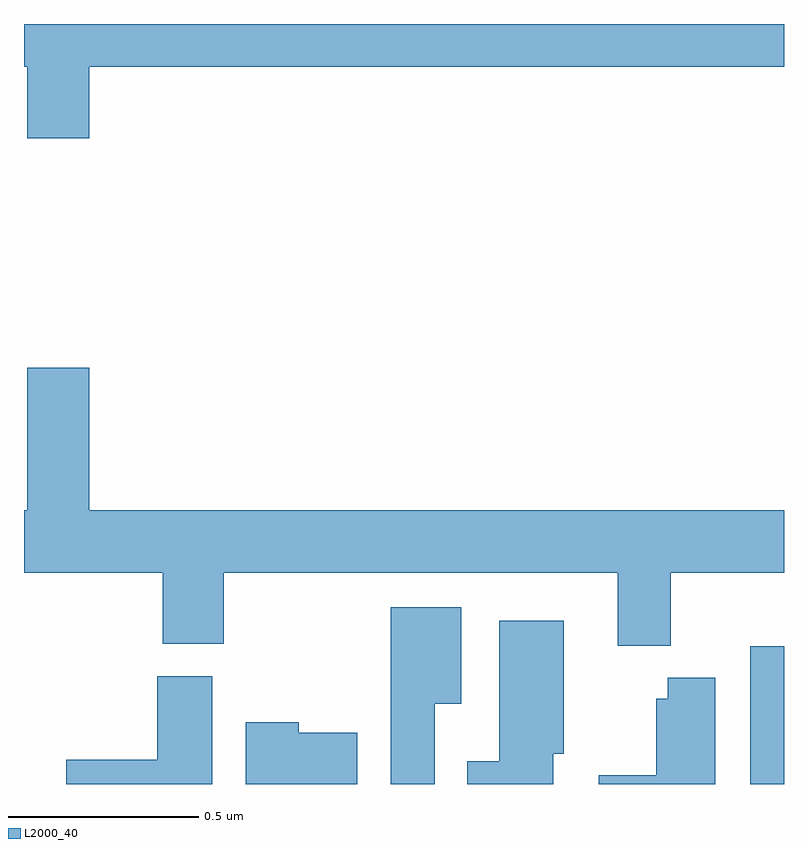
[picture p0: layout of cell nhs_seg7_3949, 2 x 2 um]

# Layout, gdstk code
import gdstk
lib = gdstk.Library(unit=1e-6, precision=1e-09)
def R(c, l, rs):  # rectangles x0, y0, x1, y1
    for r in rs: c.add(gdstk.rectangle(r[:2], r[2:], *l))
def P(c, l, *ps):  # polygons
    for p in ps: c.add(gdstk.Polygon(p, *l))
L2000_40 = (2000, 40)

nhs_seg7_3949 = lib.new_cell('nhs_seg7_3949')
R(nhs_seg7_3949, L2000_40, [(166.911,1060,167,1060.363)])
P(nhs_seg7_3949, L2000_40, [(165.172,1061.888),(167,1061.888),(167,1062),(165,1062),(165,1061.888),(165.008,1061.888),(165.008,1061.7),(165.172,1061.7)],
  [(166.702,1060.556),(167,1060.556),(167,1060.72),(165.172,1060.72),(165.172,1061.095),(165.008,1061.095),(165.008,1060.72),(165,1060.72),(165,1060.556),(165.365,1060.556),(165.365,1060.369),(165.525,1060.369),(165.525,1060.556),(166.562,1060.556),(166.562,1060.364),(166.702,1060.364)],
  [(166.081,1060.211),(166.15,1060.211),(166.15,1060.465),(165.965,1060.465),(165.965,1060),(166.081,1060)],
  [(166.393,1060.08),(166.42,1060.08),(166.42,1060.429),(166.25,1060.429),(166.25,1060.06),(166.166,1060.06),(166.166,1060),(166.393,1060)],
  [(165.496,1060.284),(165.35,1060.284),(165.35,1060.064),(165.111,1060.064),(165.111,1060),(165.496,1060)],
  [(166.819,1060.279),(166.694,1060.279),(166.694,1060.225),(166.664,1060.225),(166.664,1060.023),(166.512,1060.023),(166.512,1060),(166.819,1060)],
  [(165.877,1060.135),(165.723,1060.135),(165.723,1060.162),(165.584,1060.162),(165.584,1060),(165.877,1060)])

lib.write_gds('nhs_seg7_3949.gds')
